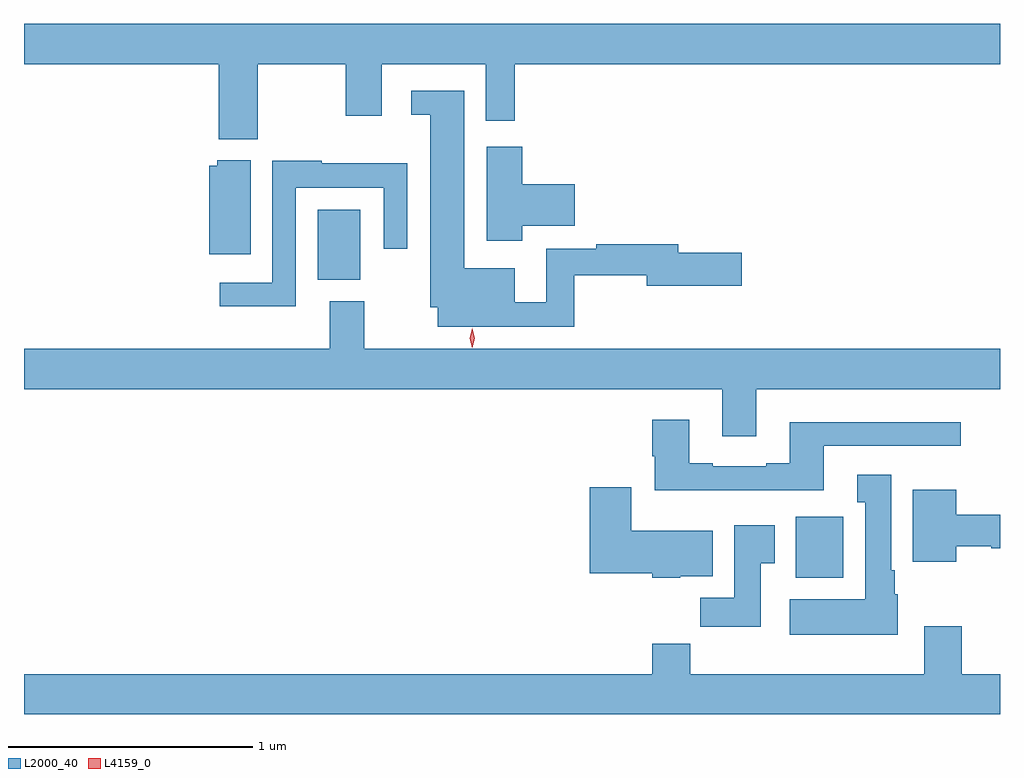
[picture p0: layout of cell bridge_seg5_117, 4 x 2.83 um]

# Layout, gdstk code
import gdstk
lib = gdstk.Library(unit=1e-6, precision=1e-09)
def R(c, l, rs):  # rectangles x0, y0, x1, y1
    for r in rs: c.add(gdstk.rectangle(r[:2], r[2:], *l))
def P(c, l, *ps):  # polygons
    for p in ps: c.add(gdstk.Polygon(p, *l))
L2000_40 = (2000, 40)
L4159_0 = (4159, 0)

bridge_seg5_117 = lib.new_cell('bridge_seg5_117')
R(bridge_seg5_117, L2000_40, [(473.201,907.934,473.397,908.185), (471.242,909.155,471.418,909.442)])
P(bridge_seg5_117, L2000_40, [(470.997,910.04),(471.358,910.04),(471.358,909.828),(471.505,909.828),(471.505,910.04),(471.932,910.04),(471.932,909.807),(472.051,909.807),(472.051,910.04),(474.039,910.04),(474.039,910.204),(470.039,910.204),(470.039,910.04),(470.837,910.04),(470.837,909.732),(470.997,909.732)],
  [(471.947,908.964),(472.295,908.964),(472.295,909.174),(472.592,909.174),(472.592,909.131),(472.981,909.131),(472.981,909.266),(472.72,909.266),(472.72,909.302),(472.384,909.302),(472.384,909.282),(472.179,909.282),(472.179,909.063),(472.051,909.063),(472.051,909.202),(471.844,909.202),(471.844,909.93),(471.627,909.93),(471.627,909.833),(471.704,909.833),(471.704,909.044),(471.734,909.044),(471.734,908.963),(471.947,908.963)],
  [(472.082,909.377),(472.297,909.377),(472.297,909.548),(472.082,909.548),(472.082,909.7),(471.935,909.7),(471.935,909.315),(472.082,909.315)],
  [(470.968,909.646),(470.832,909.646),(470.832,909.624),(470.798,909.624),(470.798,909.26),(470.968,909.26)],
  [(471.153,909.533),(471.513,909.533),(471.513,909.282),(471.609,909.282),(471.609,909.634),(471.26,909.634),(471.26,909.644),(471.057,909.644),(471.057,909.144),(470.841,909.144),(470.841,909.047),(471.153,909.047)],
  [(473.041,908.708),(474.039,908.708),(474.039,908.872),(471.433,908.872),(471.433,909.067),(471.293,909.067),(471.293,908.872),(470.039,908.872),(470.039,908.708),(472.901,908.708),(472.901,908.514),(473.041,908.514)],
  [(473.317,908.475),(473.878,908.475),(473.878,908.572),(473.177,908.572),(473.177,908.404),(473.081,908.404),(473.081,908.391),(472.861,908.391),(472.861,908.404),(472.765,908.404),(472.765,908.581),(472.613,908.581),(472.613,908.433),(472.625,908.433),(472.625,908.294),(473.317,908.294)],
  [(473.62,907.866),(473.608,907.866),(473.608,907.966),(473.593,907.966),(473.593,908.356),(473.453,908.356),(473.453,908.243),(473.486,908.243),(473.486,907.846),(473.177,907.846),(473.177,907.7),(473.62,907.7)],
  [(472.728,907.94),(472.861,907.94),(472.861,908.128),(472.528,908.128),(472.528,908.305),(472.358,908.305),(472.358,907.952),(472.614,907.952),(472.614,907.934),(472.728,907.934)],
  [(473.86,908.064),(474.003,908.064),(474.003,908.056),(474.039,908.056),(474.039,908.192),(473.86,908.192),(473.86,908.296),(473.681,908.296),(473.681,908),(473.86,908)],
  [(473.059,907.993),(473.116,907.993),(473.116,908.149),(472.949,908.149),(472.949,907.852),(472.81,907.852),(472.81,907.734),(473.059,907.734)],
  [(474.039,907.54),(473.882,907.54),(473.882,907.735),(473.729,907.735),(473.729,907.54),(472.769,907.54),(472.769,907.664),(472.613,907.664),(472.613,907.54),(470.039,907.54),(470.039,907.376),(474.039,907.376)])
P(bridge_seg5_117, L4159_0, [(471.876,908.877),(471.876,908.877),(471.866,908.917),(471.876,908.957),(471.876,908.957),(471.876,908.957),(471.886,908.917),(471.876,908.877)])

lib.write_gds('bridge_seg5_117.gds')
